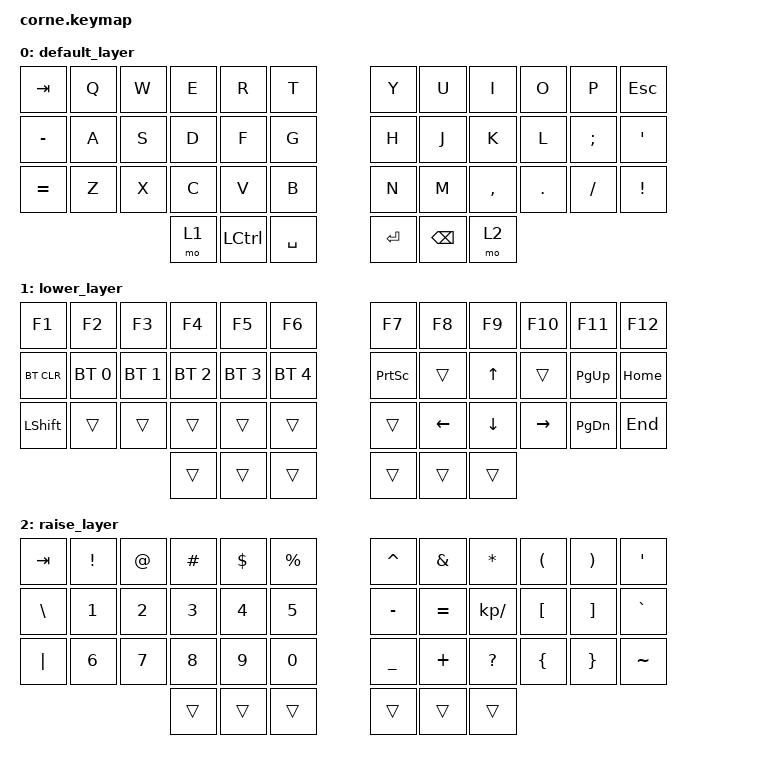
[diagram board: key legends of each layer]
/*
 * Copyright (c) 2020 The ZMK Contributors
 *
 * SPDX-License-Identifier: MIT
 */

#include <behaviors.dtsi>
#include <dt-bindings/zmk/bt.h>
#include <dt-bindings/zmk/keys.h>

/ {

    keymap {
        compatible = "zmk,keymap";

        default_layer {
            bindings = <
&kp TAB    &kp Q       &kp W                 &kp E                   &kp R               &kp T                 &kp Y                &kp U                &kp I                    &kp O             &kp P     &kp ESC
&kp MINUS  &kp A       &kp S                 &kp D                   &kp F               &kp G                 &kp H                &kp J                &kp K                    &kp L                  &kp SEMI  &kp SQT
&kp EQUAL  &kp Z       &kp X                 &kp C                   &kp V               &kp B                 &kp N                &kp M                &kp COMMA                &kp DOT                &kp FSLH  &kp EXCLAMATION
                                             &mo 1                   &kp LEFT_CONTROL    &kp SPACE             &kp RET              &kp BACKSPACE        &mo 2
            >;

            //sensor-bindings = <&inc_dec_kp C_VOL_UP C_VOL_DN>;
        };

        lower_layer {
            bindings = <
&kp F1      &kp F2        &kp F3        &kp F4        &kp F5        &kp F6          &kp F7           &kp F8          &kp F9          &kp F10    &kp F11        &kp F12
&bt BT_CLR  &bt BT_SEL 0  &bt BT_SEL 1  &bt BT_SEL 2  &bt BT_SEL 3  &bt BT_SEL 4    &kp PRINTSCREEN  &trans          &kp UP          &trans     &kp PAGE_UP    &kp HOME
&kp LSHFT   &trans        &trans        &trans        &trans        &trans       &trans           &kp LEFT_ARROW  &kp DOWN_ARROW  &kp RIGHT  &kp PAGE_DOWN  &kp END
                                        &trans        &trans        &trans          &trans           &trans          &trans
            >;

            //sensor-bindings = <&inc_dec_kp C_VOL_UP C_VOL_DN>;
        };

        raise_layer {
            bindings = <
&kp TAB        &kp EXCL      &kp AT        &kp HASH      &kp DLLR      &kp PRCNT       &kp CARET  &kp AMPS   &kp ASTRK      &kp LPAR          &kp RPAR           &kp APOSTROPHE
&kp BACKSLASH  &kp NUMBER_1  &kp NUMBER_2  &kp NUMBER_3  &kp NUMBER_4  &kp NUMBER_5    &kp MINUS  &kp EQUAL  &kp KP_DIVIDE  &kp LEFT_BRACKET  &kp RIGHT_BRACKET  &kp GRAVE
&kp PIPE       &kp NUMBER_6  &kp NUMBER_7  &kp NUMBER_8  &kp NUMBER_9  &kp NUMBER_0    &kp UNDER  &kp PLUS   &kp QUESTION   &kp LEFT_BRACE    &kp RIGHT_BRACE    &kp TILDE
                                           &trans        &trans        &trans          &trans     &trans     &trans
            >;

            //sensor-bindings = <&inc_dec_kp C_VOL_UP C_VOL_DN>;
        };
    };
};
